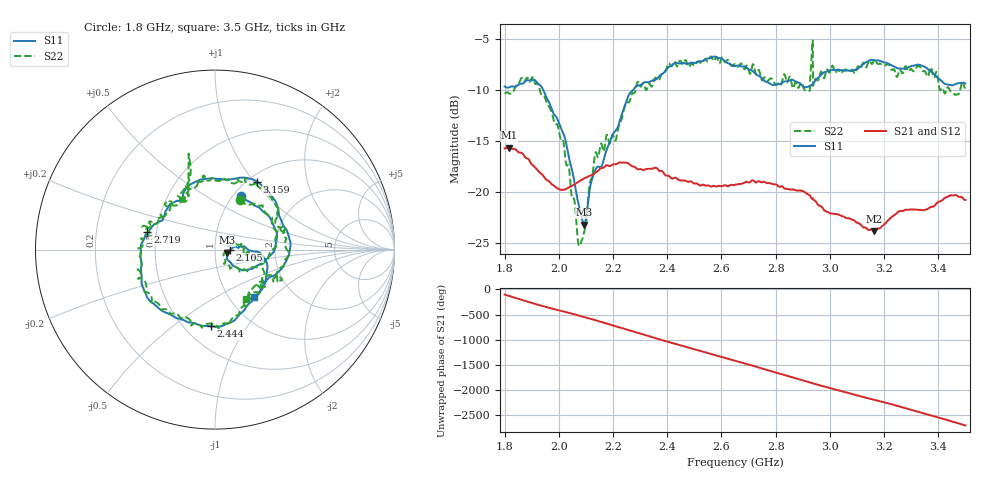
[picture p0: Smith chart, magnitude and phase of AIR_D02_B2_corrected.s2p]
! Created with skrf 1.9.0 (http://scikit-rf.org).
# Hz S RI R 50.0
!freq ReS11 ImS11 ReS21 ImS21 ReS12 ImS12 ReS22 ImS22
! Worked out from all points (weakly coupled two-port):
!   1601 points, 1.8 GHz to 3.5 GHz, reference 50 ohm
!   highest |S21| = -15.64 dB at 1.816 GHz (marker M1); lowest = -23.8 dB at 3.163 GHz (marker M2)
!   lowest |S11| = -23.2 dB at 2.093 GHz (marker M3), VSWR 1.15, Z = 57.2 - j1.96 ohm
!   |S11| at or under -10 dB: 1.943 GHz to 2.273 GHz (329.9 MHz wide, 15.7 % of centre)
!   |S22| runs from -25.3 to -5.1 dB; largest |S21 - S12| = 0.0028
!   S11 on the Smith chart (normalised r, x): 1.8 GHz: 1.09, +0.72; 2.105 GHz: 1.18, +0.00; 2.444 GHz: 0.67, -0.69; 2.719 GHz: 0.45, +0.10; 3.159 GHz: 1.10, +1.04; 3.5 GHz: 1.30, -0.77
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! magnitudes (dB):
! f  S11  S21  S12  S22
! 1.8 GHz  -9.6  -15.7  -15.7  -10.3
! 1.816 GHz  -9.7  -15.6  -15.6  -10.3
! 1.902 GHz  -9.0  -17.3  -17.3  -8.7
! 1.951 GHz  -10.5  -18.7  -18.7  -10.9
! 2.015 GHz  -14.1  -19.8  -19.8  -14.8
! 2.072 GHz  -21.1  -19.0  -19.0  -25.1
! 2.084 GHz  -22.4  -18.8  -18.8  -24.8
! 2.093 GHz  -23.2  -18.6  -18.7  -23.9
! 2.105 GHz  -21.6  -18.5  -18.5  -21.7
! 2.138 GHz  -17.7  -18.0  -18.0  -16.1
! 2.21 GHz  -13.9  -17.3  -17.2  -14.9
! 2.262 GHz  -10.3  -17.3  -17.3  -11.0
! 2.367 GHz  -8.7  -17.8  -17.8  -9.0
! 2.444 GHz  -7.4  -18.8  -18.8  -7.2
! 2.65 GHz  -7.6  -19.3  -19.2  -7.5
! 2.719 GHz  -8.2  -18.9  -18.8  -7.6
! 2.918 GHz  -9.7  -20.2  -20.2  -10.0
! 2.934 GHz  -9.5  -20.6  -20.6  -6.1
! 3.159 GHz  -7.0  -23.8  -23.7  -7.3
! 3.163 GHz  -7.0  -23.8  -23.8  -7.1
! 3.217 GHz  -7.4  -22.7  -22.7  -7.5
! 3.5 GHz  -9.4  -20.8  -20.8  -9.7
